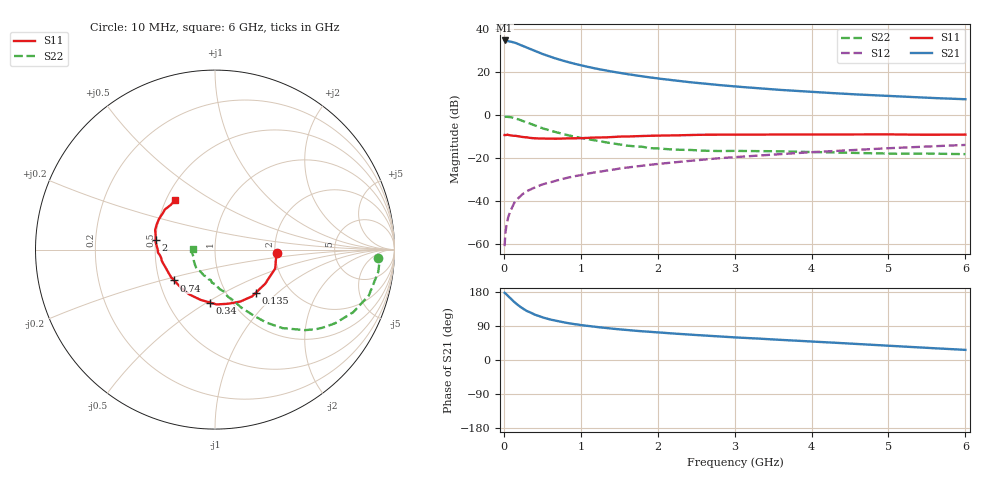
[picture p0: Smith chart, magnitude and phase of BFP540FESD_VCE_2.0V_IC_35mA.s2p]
! Infineon Technologies  Discrete & RF Semiconductors
! BFP540FESD
! VCE =  2.0 V,  IC =  35 mA
! Common Emitter S-Parameters:  Nov 2015
# GHz  S  MA  R  50
!  f  S11  S21  S12  S22
! GHz  MAG  ANG  MAG  ANG  MAG  ANG  MAG  ANG
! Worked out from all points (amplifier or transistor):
!   210 points, 10 MHz to 6 GHz, reference 50 ohm
!   highest |S21| = 34.7 dB at 10 MHz (marker M1)
!   |S21| within 3 dB of that: start of sweep to 277.1 MHz
!   unconditionally stable (mu >= 1): start of sweep to 14.91 MHz; 1.394 GHz to end of sweep
!   at 185 MHz: K = 0.40, MSG = 35.9 dB, |S12| = -38.7 dB
!   at 1.52 GHz: K = 1.01, MAG = 21.5 dB, |S12| = -24.7 dB
!   at 6 GHz: K = 1.16, MAG = 8.2 dB, |S12| = -13.8 dB
!   S11 on the Smith chart (normalised r, x): 10 MHz: 2.05, -0.08; 135 MHz: 1.37, -0.73; 340 MHz: 0.80, -0.52; 740 MHz: 0.60, -0.22; 2 GHz: 0.50, +0.06; 6 GHz: 0.56, +0.35
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0.01  0.3452 -3.0  54.58 177.4  0.0009 106.3  0.9083 -3.0
0.02  0.3438 -9.1  52.69 176.0  0.0018 94.4  0.9212 -2.1
0.05  0.3516 -17.5  52.95 169.8  0.0038 89.2  0.918 -7.8
0.1  0.3382 -34.2  50.72 159.5  0.0067 83.0  0.8942 -16.7
0.135  0.331 -46.3  48.65 153.2  0.0091 79.2  0.8578 -22.1
0.15  0.3325 -51.5  47.95 150.4  0.0101 78.1  0.8446 -24.5
0.2  0.322 -64.0  44.14 142.1  0.0122 74.2  0.7861 -31.4
0.26  0.3085 -78.7  39.81 134.2  0.0153 72.0  0.7181 -38.1
0.3  0.3056 -88.3  37.14 129.2  0.0171 71.3  0.6732 -41.8
0.34  0.2964 -95.2  34.65 125.8  0.0185 70.4  0.6335 -44.5
0.4  0.2913 -106.2  31.18 119.8  0.0207 69.3  0.5771 -49.3
0.5  0.2879 -120.1  26.57 112.5  0.0245 67.8  0.4969 -54.9
0.6  0.2852 -130.7  22.87 107.0  0.0273 67.3  0.4378 -58.8
0.74  0.2851 -142.9  19.18 101.0  0.0321 67.8  0.3768 -63.5
1.02  0.2925 -159.6  14.18 91.7  0.0411 67.2  0.2913 -71.4
1.5  0.318 -176.9  9.647 80.9  0.0573 65.3  0.2107 -85.6
2  0.3359 170.5  7.142 72.6  0.0734 63.0  0.1689 -102.2
2.02  0.336 170.3  7.073 72.4  0.074 62.9  0.1677 -102.7
3.1  0.3539 155.8  4.512 58.7  0.1087 56.5  0.147 -129.9
4.1  0.355 148.3  3.395 47.7  0.1408 50.1  0.1378 -146.0
5.1  0.3558 140.1  2.743 36.6  0.1736 42.0  0.1267 -162.2
6  0.3541 129.2  2.345 26.7  0.2032 34.3  0.1243 177.7
